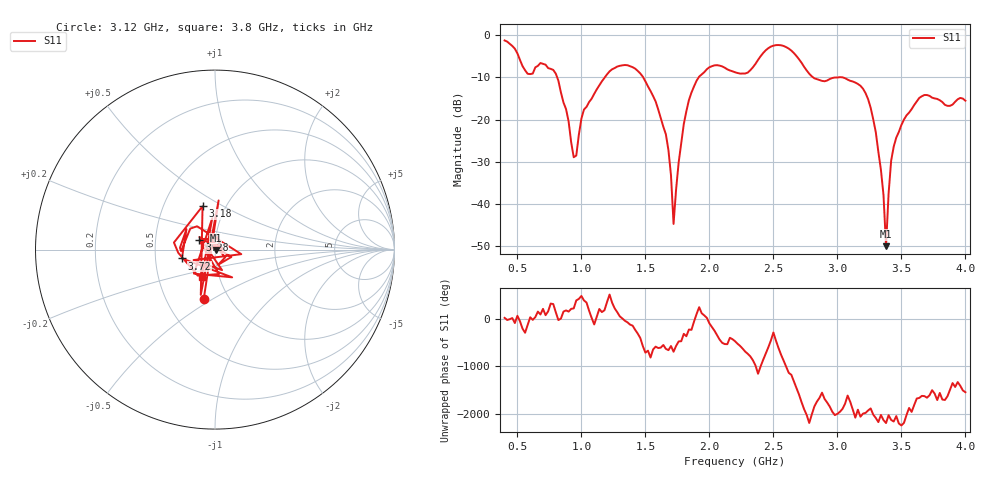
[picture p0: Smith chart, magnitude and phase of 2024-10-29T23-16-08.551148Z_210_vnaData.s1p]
!Created with skrf (http://scikit-rf.org).
# Hz S RI R 50.0
!freq ReS11 ImS11
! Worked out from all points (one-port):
!   181 points, 400 MHz to 4 GHz, reference 50 ohm
!   lowest |S11| = -50.0 dB at 3.38 GHz (marker M1), VSWR 1.01, Z = 50.3 - j0.146 ohm
!   |S11| at or under -10 dB: 810.7 MHz to 1.183 GHz (372 MHz wide, 37.3 % of centre); 1.483 GHz to 1.916 GHz (433.5 MHz wide, 25.5 % of centre); 3.041 GHz to end of sweep (the widest 3 of 4)
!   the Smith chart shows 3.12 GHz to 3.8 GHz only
!   S11 on the Smith chart (normalised r, x): 3.12 GHz: 0.76, -0.46; 3.18 GHz: 0.78, +0.40; 3.28 GHz: 0.84, +0.09; 3.72 GHz: 0.69, -0.07; 3.8 GHz: 0.83, -0.26
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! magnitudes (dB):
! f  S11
! 400 MHz  -1.2
! 580 MHz  -9.1
! 780 MHz  -8.2
! 860 MHz  -16.0
! 940 MHz  -28.9
! 1.02 GHz  -17.6
! 1.3 GHz  -7.3
! 1.58 GHz  -15.7
! 1.68 GHz  -27.3
! 1.72 GHz  -44.7
! 1.76 GHz  -30.1
! 1.82 GHz  -18.0
! 1.9 GHz  -10.8
! 2.2 GHz  -8.8
! 2.5 GHz  -2.5
! 2.66 GHz  -4.2
! 2.82 GHz  -10.2
! 3.1 GHz  -10.8
! 3.12 GHz  -11.0
! 3.18 GHz  -12.0
! 3.28 GHz  -19.9
! 3.36 GHz  -37.8
! 3.38 GHz  -50.0
! 3.42 GHz  -29.7
! 3.56 GHz  -18.4
! 3.72 GHz  -14.4
! 3.8 GHz  -15.4
! 4 GHz  -15.5
